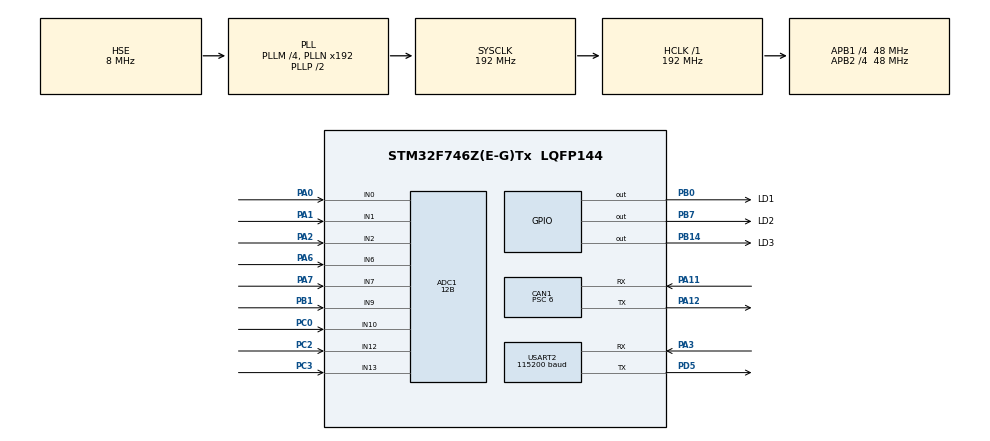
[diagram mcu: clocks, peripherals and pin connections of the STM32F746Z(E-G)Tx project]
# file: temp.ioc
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ADC1.Channel-0\#ChannelRegularConversion=ADC_CHANNEL_0
ADC1.ClockPrescaler=ADC_CLOCK_SYNC_PCLK_DIV2
ADC1.ContinuousConvMode=DISABLE
ADC1.DMAContinuousRequests=DISABLE
ADC1.DataAlign=ADC_DATAALIGN_RIGHT
ADC1.DiscontinuousConvMode=DISABLE
ADC1.EOCSelection=ADC_EOC_SINGLE_CONV
ADC1.EnableAnalogWatchDog=false
ADC1.ExternalTrigConvEdge=ADC_EXTERNALTRIGCONVEDGE_NONE
ADC1.InjNumberOfConversion=0
ADC1.NbrOfConversion=1
ADC1.NbrOfConversionFlag=1
ADC1.Rank-0\#ChannelRegularConversion=1
ADC1.Resolution=ADC_RESOLUTION_12B
ADC1.SamplingTime-0\#ChannelRegularConversion=ADC_SAMPLETIME_3CYCLES
ADC1.ScanConvMode=DISABLE
ADC1.master=1
CAN1.BS1=CAN_BS1_5TQ
CAN1.BS2=CAN_BS2_2TQ
CAN1.CalculateTimeBit=1000
CAN1.CalculateTimeQuantum=125.0
CAN1.Mode=CAN_MODE_NORMAL
CAN1.Prescaler=6
CAN1.SJW=CAN_SJW_1TQ
Mcu.Family=STM32F7
Mcu.Name=STM32F746Z(E-G)Tx
Mcu.Package=LQFP144
NVIC.PriorityGroup=NVIC_PRIORITYGROUP_2
NVIC.TIM2_IRQn=true\:0\:1\:true\:false\:true
NVIC.TIM3_IRQn=true\:3\:3\:true\:false\:true
PA0/WKUP.Signal=ADCx_IN0
PA1.Signal=ADCx_IN1
PA11.Mode=Master
PA11.Signal=CAN1_RX
PA12.Mode=Master
PA12.Signal=CAN1_TX
PA2.Signal=ADCx_IN2
PA3.Mode=Asynchronous
PA3.Signal=USART2_RX
PA6.Signal=ADCx_IN6
PA7.Signal=ADCx_IN7
PB0.GPIO_Label=LD1
PB0.Signal=GPIO_Output
PB1.Signal=ADCx_IN9
PB14.GPIO_Label=LD3
PB14.Signal=GPIO_Output
PB7.GPIO_Label=LD2
PB7.Signal=GPIO_Output
PC0.Signal=ADCx_IN10
PC2.Signal=ADCx_IN12
PC3.Signal=ADCx_IN13
PD5.Mode=Asynchronous
PD5.Signal=USART2_TX
PH0/OSC_IN.Mode=HSE-External-Oscillator
PH0/OSC_IN.Signal=RCC_OSC_IN
PH1/OSC_OUT.Mode=HSE-External-Oscillator
PH1/OSC_OUT.Signal=RCC_OSC_OUT
ProjectManager.HeapSize=0x200
ProjectManager.StackSize=0x400
ProjectManager.TargetToolchain=MDK-ARM V5
RCC.AHBFreq_Value=192000000
RCC.APB1CLKDivider=RCC_HCLK_DIV4
RCC.APB1Freq_Value=48000000
RCC.APB1TimFreq_Value=96000000
RCC.APB2CLKDivider=RCC_HCLK_DIV4
RCC.APB2Freq_Value=48000000
RCC.APB2TimFreq_Value=96000000
RCC.CortexFreq_Value=192000000
RCC.HCLKFreq_Value=192000000
RCC.HSE_VALUE=8000000
RCC.HSI_VALUE=16000000
RCC.LSE_VALUE=32768
RCC.PLLM=4
RCC.PLLSourceVirtual=RCC_PLLSOURCE_HSE
RCC.SYSCLKFreq_VALUE=192000000
RCC.SYSCLKSource=RCC_SYSCLKSOURCE_PLLCLK
RCC.USBFreq_Value=192000000
RCC.VCOOutputFreq_Value=384000000
SH.ADCx_IN0.0=ADC1_IN0,IN0
SH.ADCx_IN1.0=ADC1_IN1,IN1
SH.ADCx_IN10.0=ADC1_IN10,IN10
SH.ADCx_IN12.0=ADC1_IN12,IN12
SH.ADCx_IN13.0=ADC1_IN13,IN13
SH.ADCx_IN2.0=ADC1_IN2,IN2
SH.ADCx_IN6.0=ADC1_IN6,IN6
SH.ADCx_IN7.0=ADC1_IN7,IN7
SH.ADCx_IN9.0=ADC1_IN9,IN9
TIM2.Period=95
TIM2.Prescaler=999
TIM3.Period=950
TIM3.Prescaler=999
USART2.BaudRate=115200
USART2.Mode=UART_MODE_TX
USART2.WordLength=UART_WORDLENGTH_8B
VP_TIM2_VS_ClockSourceINT.Mode=Internal
VP_TIM3_VS_ClockSourceINT.Mode=Internal
board=temp

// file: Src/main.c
/**
  ******************************************************************************
  * File Name          : main.c
  * Description        : Main program body
  ******************************************************************************
  *
  * COPYRIGHT(c) 2016 STMicroelectronics
  *
  * Redistribution and use in source and binary forms, with or without modification,
  * are permitted provided that the following conditions are met:
  *   1. Redistributions of source code must retain the above copyright notice,
  *      this list of conditions and the following disclaimer.
  *   2. Redistributions in binary form must reproduce the above copyright notice,
  *      this list of conditions and the following disclaimer in the documentation
  *      and/or other materials provided with the distribution.
  *   3. Neither the name of STMicroelectronics nor the names of its contributors
  *      may be used to endorse or promote products derived from this software
  *      without specific prior written permission.
  *
  * THIS SOFTWARE IS PROVIDED BY THE COPYRIGHT HOLDERS AND CONTRIBUTORS "AS IS"
  * AND ANY EXPRESS OR IMPLIED WARRANTIES, INCLUDING, BUT NOT LIMITED TO, THE
  * IMPLIED WARRANTIES OF MERCHANTABILITY AND FITNESS FOR A PARTICULAR PURPOSE ARE
  * DISCLAIMED. IN NO EVENT SHALL THE COPYRIGHT HOLDER OR CONTRIBUTORS BE LIABLE
  * FOR ANY DIRECT, INDIRECT, INCIDENTAL, SPECIAL, EXEMPLARY, OR CONSEQUENTIAL
  * DAMAGES (INCLUDING, BUT NOT LIMITED TO, PROCUREMENT OF SUBSTITUTE GOODS OR
  * SERVICES; LOSS OF USE, DATA, OR PROFITS; OR BUSINESS INTERRUPTION) HOWEVER
  * CAUSED AND ON ANY THEORY OF LIABILITY, WHETHER IN CONTRACT, STRICT LIABILITY,
  * OR TORT (INCLUDING NEGLIGENCE OR OTHERWISE) ARISING IN ANY WAY OUT OF THE USE
  * OF THIS SOFTWARE, EVEN IF ADVISED OF THE POSSIBILITY OF SUCH DAMAGE.
  *
  ******************************************************************************
  */
#include "stm32f7xx_hal.h"

/* USER CODE BEGIN Includes */
#include "stdio.h"
#include <arm_math.h>
#include "string.h"
#include "stm32f7xx_it.h"
#include "main.h"
#include "CPG.h"
/* USER CODE END Includes */

ADC_HandleTypeDef hadc1;

CAN_HandleTypeDef hcan1;

TIM_HandleTypeDef htim2;
TIM_HandleTypeDef htim3;

UART_HandleTypeDef huart2;

/* USER CODE BEGIN PV */
/* Private variables ---------------------------------------------------------*/

/* USER CODE END PV */

void SystemClock_Config(void);
static void MX_GPIO_Init(void);
static void MX_USART2_UART_Init(void);
static void MX_TIM2_Init(void);
static void MX_CAN1_Init(void);
static void MX_TIM3_Init(void);
static void SystemClock_Config(void);
static void MX_ADC1_Init(void);

/* USER CODE BEGIN PFP */
/* Private function prototypes -----------------------------------------------*/

/* USER CODE END PFP */

/* USER CODE BEGIN 0 */

//void cr4_fft_256_stm32(void *pssOUT, void *pssIN, uint16_t Nbin);
 void CAN1_Filter_Init(void);
 void Servo_Init(void);
 int func(char s[],int x);
CPG C;
double c=1,a=1.00000001;
float cc=1,aa=1.00000001;

float x[8][7]={ { 0, 0, 0, 0, 0, 0, 0},
                { 0, 0, 0, 0, 0, 0, 0},
                { 0, 0, 0, 0, 0, 0, 0},
                { 0, 0, 0, 0, 0, 0, 0},
                { 0, 0, 0, 0, 0, 0, 0},
                { 0, 0, 0, 0, 0, 0, 0},
                { 0, 0, 0, 0, 0, 0, 0},
                { 0, 0, 0, 0, 0, 0, 0}};
float xVel[8][7]={ { 0, 0, 0, 0, 0, 0, 0},
                { 0, 0, 0, 0, 0, 0, 0},
                { 0, 0, 0, 0, 0, 0, 0},
                { 0, 0, 0, 0, 0, 0, 0},
                { 0, 0, 0, 0, 0, 0, 0},
                { 0, 0, 0, 0, 0, 0, 0},
                { 0, 0, 0, 0, 0, 0, 0},
                { 0, 0, 0, 0, 0, 0, 0}};
float xAcc[8][7]={ { 0, 0, 0, 0, 0, 0, 0},
                { 0, 0, 0, 0, 0, 0, 0},
                { 0, 0, 0, 0, 0, 0, 0},
                { 0, 0, 0, 0, 0, 0, 0},
                { 0, 0, 0, 0, 0, 0, 0},
                { 0, 0, 0, 0, 0, 0, 0},
                { 0, 0, 0, 0, 0, 0, 0},
                { 0, 0, 0, 0, 0, 0, 0}};
float paraVector[19];
float sensorHipPositiont1=-PI/2,sensorHipPositiont2=-PI/2,sensorHipVelocity=0;
float sensorKneePositiont1=0,sensorKneePositiont2=0,sensorKneeVelocity=0;
float aHipFinal[3]={7.512,12.9354,4.7784};
float aHip[3]={0,0,0};
float phiHip[3]={0,-0.2828,-0.6368};
float aKneeFinal[3]={22.6855,23.6933,18.5434};
float aKnee[3]={0,0,0};
float phiKnee[3]={0,1.0244,0.4137};
float controlTime=0;
float kneePOS,kneeVEL,kneeACC,hipPOS,hipVEL,hipACC;
float timeStep=0.005;
float piHalf=1.5708;

uint32_t timeB,timeA,timeInterval;
uint32_t  transmitmailbox;
uint32_t Timeout;
CanTxMsgTypeDef            pTxMsg;
CanTxMsgTypeDef            pTxMsg1;
CanRxMsgTypeDef            pRxMsg;
CanRxMsgTypeDef            pRxMsg1;
CanTxMsgTypeDef            pTxMsgSensor;
CanTxMsgTypeDef            pTxMsgSensor1;
CanRxMsgTypeDef            pRxMsgSensor;
CanRxMsgTypeDef            pRxMsgHipSensor;
CanRxMsgTypeDef            pRxMsgKneeSensor;
CanTxMsgTypeDef            pTxMsgTorque;
CanRxMsgTypeDef            pRxMsgTorque;
HAL_StatusTypeDef          stateCAN;

uint8_t positionLow[1];
uint8_t positionLow1[1];
uint8_t positionLow2[1];
uint8_t positionHigh[1];

int sensorCounter,tempCounter,usartSend;

int sensorZero;
uint8_t aRxBuffer[1];
float Gamma[11]={1,1,1,1,1,1,1,1,1,1,1};

uint32_t uhADCxConvertedValue[8];
ADC_ChannelConfTypeDef sConfig;
float filter_a[3]={1,-1.9733,0.9737};
float filter_b[3]={8.7656e-5,1.7531e-4,8.7656e-5};
float filterdADCvalue[8][4];
float rawADCvalue[8][3];

int flagADC=0;

/* RLS */
float HL[5];
float K_NN[5];
float T_N0[5]={0,0,0,0,0};
float T_NN[5];
float P_NN0[5];
float P_NN1[5];
float P_NN2[5];
float P_NN3[5];
float P_NN4[5];
float P_N00[5]={0,0,0,0,0};
float P_N01[5]={0,0,0,0,0};
float P_N02[5]={0,0,0,0,0};
float P_N03[5]={0,0,0,0,0};
float P_N04[5]={0,0,0,0,0};

int rlsConst=1000000;

/* END */

int fputc(int ch, FILE *f)
{
	uint8_t temp[1]={ch};
	HAL_UART_Transmit(&huart2, temp, 1, 2);
	return (ch);
}

void instructionParse(uint8_t aRxBuffer)
{
	if(aRxBuffer==5)
	{
	pTxMsg.StdId=0x201;
  pTxMsg.IDE =CAN_ID_STD;
	pTxMsg.RTR =CAN_RTR_DATA;
	pTxMsg.DLC =2;
	pTxMsg.Data[0]=0x05;
	pTxMsg.Data[1]=0x00;
	hcan1.pTxMsg=&pTxMsg;
	HAL_CAN_Transmit(&hcan1,10);

//	HAL_UART_Transmit(&huart2, ackComm, 1, 10);
	pTxMsg.StdId=0x202;
  pTxMsg.IDE =CAN_ID_STD;
	pTxMsg.RTR =CAN_RTR_DATA;
	pTxMsg.DLC =2;
	pTxMsg.Data[0]=0x05;
	pTxMsg.Data[1]=0x00;
	hcan1.pTxMsg=&pTxMsg;
	HAL_CAN_Transmit(&hcan1,10);

	}
}
void HAL_UART_RxCpltCallback(UART_HandleTypeDef *huart)
{
	uint8_t i=0;
 // positionHigh[0]=1;
	//HAL_UART_Transmit(&huart2, positionHigh, 1, 10);
	if(huart->Instance==USART2)
	{
		// positionHigh[0]=2;
	 //  HAL_UART_Transmit(&huart2, positionHigh, 1, 10);
		instructionParse(aRxBuffer[0]);
	}
	HAL_UART_Receive_IT(&huart2,aRxBuffer,1);
	__HAL_UART_ENABLE_IT(huart, UART_IT_RXNE);
	__HAL_UART_DISABLE_IT(&huart2,UART_IT_RXNE);

}

/* USER CODE END 0 */

int main(void)
{

  /* USER CODE BEGIN 1 */
  //uint8_t i=0;

  /* USER CODE END 1 */

  /* MCU Configuration----------------------------------------------------------*/

  /* Reset of all peripherals, Initializes the Flash interface and the Systick. */
  HAL_Init();

  /* Configure the system clock */
  SystemClock_Config();

  /* Initialize all configured peripherals */
  MX_GPIO_Init();
  MX_USART2_UART_Init();
  MX_TIM2_Init();
  MX_CAN1_Init();
  MX_TIM3_Init();
  SystemClock_Config();
  MX_ADC1_Init();

  /* USER CODE BEGIN 2 */

	CPG_Init(&C);
	Servo_Init();
	HAL_GPIO_WritePin(LD3_GPIO_Port, LD1_Pin, GPIO_PIN_SET);
  HAL_GPIO_WritePin(LD3_GPIO_Port, LD2_Pin, GPIO_PIN_SET);
  //printf("\n\r UART Printf Example: retarget the C library printf function to the UART\n\r");
  //printf("** Test finished successfully. ** \n\r");

//	timeB=HAL_GetTick();
//
//	for(unsigned int i=0;i<60000;i++ )
//	    cc=cc*aa;

//	timeA=HAL_GetTick();
//	timeInterval=timeA-timeB;

  for(int i=0;i<11;i++)
	{
     Gamma[i]=1/0.1;
		 paraVector[i]=0;
	}
//	 Gamma[4]=0.2;
//	 Gamma[5]=0.2;
//	 Gamma[6]=0.2;
	 Gamma[7]=1;
	 Gamma[8]=1;
	 Gamma[9]=1;
	 Gamma[10]=1;

sensorHipPositiont1=-PI/2,sensorHipPositiont2=-PI/2,sensorHipVelocity=0;
sensorKneePositiont1=0,sensorKneePositiont2=0,sensorKneeVelocity=0;
controlTime=0;
	  for(int i=0;i<3;i++)
	{
     aHip[i]=0;
     aKnee[i]=0;
	}

/* RLS Initialization */
	P_N00[0]=rlsConst*rlsConst;
	P_N01[1]=rlsConst*rlsConst;
	P_N02[2]=rlsConst*rlsConst;
	P_N03[3]=rlsConst*rlsConst;
	P_N04[4]=rlsConst*rlsConst;

/* END */

  CAN1_Filter_Init();
  HAL_TIM_Base_Start_IT(&htim2);
	HAL_TIM_Base_Start_IT(&htim3);

	if(HAL_UART_Receive_IT(&huart2,aRxBuffer,1)==HAL_OK)
{
	positionLow[0]=0;

}

  /* USER CODE END 2 */

  /* Infinite loop */
  while (1)
  {

  /* USER CODE BEGIN 3 */
		timeB=HAL_GetTick();

	pTxMsgSensor.StdId=0x381;
  pTxMsgSensor.IDE =CAN_ID_STD;
	pTxMsgSensor.RTR =CAN_RTR_REMOTE;
	pTxMsgSensor.DLC =0;
	hcan1.pTxMsg=&pTxMsgSensor;
	while(hcan1.State==HAL_CAN_STATE_BUSY_TX)
		    ;
	HAL_CAN_Transmit(&hcan1,10);
  while(hcan1.State==HAL_CAN_STATE_BUSY_RX)
		    ;
	HAL_CAN_Receive(&hcan1,CAN_FIFO0,10);
	pRxMsgSensor=*(hcan1.pRxMsg);

	if(pRxMsgSensor.StdId ==0x381)
	{
	   pRxMsgKneeSensor=*(hcan1.pRxMsg);
	}
	positionLow[0]=pRxMsgKneeSensor.Data[0];
	positionLow1[0]=pRxMsgKneeSensor.Data[1];
	positionLow2[0]=pRxMsgKneeSensor.Data[2];
	positionHigh[0]=pRxMsgKneeSensor.Data[3];
	sensorCounter=positionLow[0]+positionLow1[0]*16*16+positionLow2[0]*16*16*16*16+positionHigh[0]*16*16*16*16*16*16;
	sensorKneePositiont2=-sensorCounter*2*PI/4096/100;
	if(sensorKneePositiont2>0.7||sensorKneePositiont2<-0.7)
	{
	pTxMsg.StdId=0x201;
  pTxMsg.IDE =CAN_ID_STD;
	pTxMsg.RTR =CAN_RTR_DATA;
	pTxMsg.DLC =2;
	pTxMsg.Data[0]=0x05;
	pTxMsg.Data[1]=0x00;
	hcan1.pTxMsg=&pTxMsg;
	HAL_CAN_Transmit(&hcan1,10);
	}

	sensorKneeVelocity=(sensorKneePositiont2-sensorKneePositiont1)/timeStep;
	HAL_Delay(2);

	sensorKneePositiont1=sensorKneePositiont2;
	timeA=HAL_GetTick();
	timeInterval=timeA-timeB;
	timeStep=(float)timeInterval/1000;

  }
  /* USER CODE END 3 */

}

/** System Clock Configuration
*/
void SystemClock_Config(void)
{

  RCC_OscInitTypeDef RCC_OscInitStruct;
  RCC_ClkInitTypeDef RCC_ClkInitStruct;
  RCC_PeriphCLKInitTypeDef PeriphClkInitStruct;

  __HAL_RCC_PWR_CLK_ENABLE();

  __HAL_PWR_VOLTAGESCALING_CONFIG(PWR_REGULATOR_VOLTAGE_SCALE1);

  RCC_OscInitStruct.OscillatorType = RCC_OSCILLATORTYPE_HSE;
  RCC_OscInitStruct.HSEState = RCC_HSE_ON;
  RCC_OscInitStruct.PLL.PLLState = RCC_PLL_ON;
  RCC_OscInitStruct.PLL.PLLSource = RCC_PLLSOURCE_HSE;
  RCC_OscInitStruct.PLL.PLLM = 4;
  RCC_OscInitStruct.PLL.PLLN = 192;
  RCC_OscInitStruct.PLL.PLLP = RCC_PLLP_DIV2;
  RCC_OscInitStruct.PLL.PLLQ = 2;
  HAL_RCC_OscConfig(&RCC_OscInitStruct);

  HAL_PWREx_EnableOverDrive();

  RCC_ClkInitStruct.ClockType = RCC_CLOCKTYPE_HCLK|RCC_CLOCKTYPE_SYSCLK
                              |RCC_CLOCKTYPE_PCLK1|RCC_CLOCKTYPE_PCLK2;
  RCC_ClkInitStruct.SYSCLKSource = RCC_SYSCLKSOURCE_PLLCLK;
  RCC_ClkInitStruct.AHBCLKDivider = RCC_SYSCLK_DIV1;
  RCC_ClkInitStruct.APB1CLKDivider = RCC_HCLK_DIV4;
  RCC_ClkInitStruct.APB2CLKDivider = RCC_HCLK_DIV4;
  HAL_RCC_ClockConfig(&RCC_ClkInitStruct, FLASH_LATENCY_6);

  PeriphClkInitStruct.PeriphClockSelection = RCC_PERIPHCLK_USART2;
  PeriphClkInitStruct.Usart2ClockSelection = RCC_USART2CLKSOURCE_PCLK1;
  HAL_RCCEx_PeriphCLKConfig(&PeriphClkInitStruct);

  HAL_SYSTICK_Config(HAL_RCC_GetHCLKFreq()/1000);

  HAL_SYSTICK_CLKSourceConfig(SYSTICK_CLKSOURCE_HCLK);

  /* SysTick_IRQn interrupt configuration */
  HAL_NVIC_SetPriority(SysTick_IRQn, 0, 0);
}

/* ADC1 init function */
void MX_ADC1_Init(void)
{

  ADC_ChannelConfTypeDef sConfig;

    /**Configure the global features of the ADC (Clock, Resolution, Data Alignment and number of conversion)
    */
  hadc1.Instance = ADC1;
  hadc1.Init.ClockPrescaler = ADC_CLOCK_SYNC_PCLK_DIV2;
  hadc1.Init.Resolution = ADC_RESOLUTION_12B;
  hadc1.Init.ScanConvMode = DISABLE;
  hadc1.Init.ContinuousConvMode = DISABLE;
  hadc1.Init.DiscontinuousConvMode = DISABLE;
  hadc1.Init.ExternalTrigConvEdge = ADC_EXTERNALTRIGCONVEDGE_NONE;
  hadc1.Init.DataAlign = ADC_DATAALIGN_RIGHT;
  hadc1.Init.NbrOfConversion = 1;
  hadc1.Init.DMAContinuousRequests = DISABLE;
  hadc1.Init.EOCSelection = ADC_EOC_SINGLE_CONV;
  HAL_ADC_Init(&hadc1);

    /**Configure for the selected ADC regular channel its corresponding rank in the sequencer and its sample time.
    */
  sConfig.Channel = ADC_CHANNEL_0;
  sConfig.Rank = 1;
  sConfig.SamplingTime = ADC_SAMPLETIME_3CYCLES;
  HAL_ADC_ConfigChannel(&hadc1, &sConfig);

}

/* CAN1 init function */
void MX_CAN1_Init(void)
{

  hcan1.Instance = CAN1;
  hcan1.Init.Prescaler = 6;
  hcan1.Init.Mode = CAN_MODE_NORMAL;
  hcan1.Init.SJW = CAN_SJW_1TQ;
  hcan1.Init.BS1 = CAN_BS1_5TQ;
  hcan1.Init.BS2 = CAN_BS2_2TQ;
  hcan1.Init.TTCM = DISABLE;
  hcan1.Init.ABOM = DISABLE;
  hcan1.Init.AWUM = DISABLE;
  hcan1.Init.NART = DISABLE;
  hcan1.Init.RFLM = DISABLE;
  hcan1.Init.TXFP = DISABLE;
  HAL_CAN_Init(&hcan1);

}

/* TIM2 init function */
void MX_TIM2_Init(void)
{

  TIM_ClockConfigTypeDef sClockSourceConfig;
  TIM_MasterConfigTypeDef sMasterConfig;

  htim2.Instance = TIM2;
  htim2.Init.Prescaler = 999;
  htim2.Init.CounterMode = TIM_COUNTERMODE_UP;
  htim2.Init.Period = 95;
  htim2.Init.ClockDivision = TIM_CLOCKDIVISION_DIV1;
  HAL_TIM_Base_Init(&htim2);

  sClockSourceConfig.ClockSource = TIM_CLOCKSOURCE_INTERNAL;
  HAL_TIM_ConfigClockSource(&htim2, &sClockSourceConfig);

  sMasterConfig.MasterOutputTrigger = TIM_TRGO_RESET;
  sMasterConfig.MasterSlaveMode = TIM_MASTERSLAVEMODE_DISABLE;
  HAL_TIMEx_MasterConfigSynchronization(&htim2, &sMasterConfig);

}

/* TIM3 init function */
void MX_TIM3_Init(void)
{

  TIM_ClockConfigTypeDef sClockSourceConfig;
  TIM_MasterConfigTypeDef sMasterConfig;

  htim3.Instance = TIM3;
  htim3.Init.Prescaler = 999;
  htim3.Init.CounterMode = TIM_COUNTERMODE_UP;
  htim3.Init.Period = 950;
  htim3.Init.ClockDivision = TIM_CLOCKDIVISION_DIV1;
  HAL_TIM_Base_Init(&htim3);

  sClockSourceConfig.ClockSource = TIM_CLOCKSOURCE_INTERNAL;
  HAL_TIM_ConfigClockSource(&htim3, &sClockSourceConfig);

  sMasterConfig.MasterOutputTrigger = TIM_TRGO_RESET;
  sMasterConfig.MasterSlaveMode = TIM_MASTERSLAVEMODE_DISABLE;
  HAL_TIMEx_MasterConfigSynchronization(&htim3, &sMasterConfig);

}

/* USART2 init function */
void MX_USART2_UART_Init(void)
{

  huart2.Instance = USART2;
  huart2.Init.BaudRate = 115200;
  huart2.Init.WordLength = UART_WORDLENGTH_8B;
  huart2.Init.StopBits = UART_STOPBITS_1;
  huart2.Init.Parity = UART_PARITY_NONE;
  huart2.Init.Mode = UART_MODE_TX;
  huart2.Init.HwFlowCtl = UART_HWCONTROL_NONE;
  huart2.Init.OverSampling = UART_OVERSAMPLING_16;
  huart2.Init.OneBitSampling = UART_ONE_BIT_SAMPLE_DISABLE;
  huart2.AdvancedInit.AdvFeatureInit = UART_ADVFEATURE_NO_INIT;
  HAL_UART_Init(&huart2);

}

/** Configure pins as
        * Analog
        * Input
        * Output
        * EVENT_OUT
        * EXTI
*/
void MX_GPIO_Init(void)
{

  GPIO_InitTypeDef GPIO_InitStruct;

  /* GPIO Ports Clock Enable */
  __HAL_RCC_GPIOH_CLK_ENABLE();
  __HAL_RCC_GPIOC_CLK_ENABLE();
  __HAL_RCC_GPIOA_CLK_ENABLE();
  __HAL_RCC_GPIOB_CLK_ENABLE();
  __HAL_RCC_GPIOD_CLK_ENABLE();

  /*Configure GPIO pin Output Level */
  HAL_GPIO_WritePin(GPIOB, LD1_Pin|LD3_Pin|LD2_Pin, GPIO_PIN_RESET);

  /*Configure GPIO pins : LD1_Pin LD3_Pin LD2_Pin */
  GPIO_InitStruct.Pin = LD1_Pin|LD3_Pin|LD2_Pin;
  GPIO_InitStruct.Mode = GPIO_MODE_OUTPUT_PP;
  GPIO_InitStruct.Pull = GPIO_NOPULL;
  GPIO_InitStruct.Speed = GPIO_SPEED_FREQ_LOW;
  HAL_GPIO_Init(GPIOB, &GPIO_InitStruct);

}

/* USER CODE BEGIN 4 */

void CAN1_Filter_Init(void)
{
	//32-Bit Filter;
	//     0000 0000 (000)0 0000 0000 0000 0000 0000,括号内是STID的低三位
	//Mask 0000 0000 (111)0 0000 0000 0000 0000 0000
	CAN_FilterConfTypeDef sFilterConfig;
	sFilterConfig.FilterNumber=0;
	sFilterConfig.FilterMode=CAN_FILTERMODE_IDMASK;
	sFilterConfig.FilterScale=CAN_FILTERSCALE_32BIT;
  sFilterConfig.FilterIdHigh=0x0000;
  sFilterConfig.FilterIdLow=0x0000;
  sFilterConfig.FilterMaskIdHigh=0x0000;
  sFilterConfig.FilterMaskIdLow=0x0000;
  sFilterConfig.FilterFIFOAssignment=CAN_FIFO0;
	sFilterConfig.FilterActivation=ENABLE;
  HAL_CAN_ConfigFilter(&hcan1, &sFilterConfig);

}

void Servo_Init(void)
{
		//????
	pTxMsg.StdId=0x00;
  pTxMsg.IDE =CAN_ID_STD;
	pTxMsg.RTR =CAN_RTR_DATA;
	pTxMsg.DLC =8;
	pTxMsg.Data[0]=0x01;
	pTxMsg.Data[1]=0x00;
	Timeout=10;
	hcan1.pTxMsg=&pTxMsg;
	HAL_CAN_Transmit(&hcan1,10);

	//取消181的功能
	pTxMsg.StdId=0x601;
  pTxMsg.IDE =CAN_ID_STD;
	pTxMsg.RTR =CAN_RTR_DATA;
	pTxMsg.DLC =8;
	pTxMsg.Data[0]=0x23;
	pTxMsg.Data[1]=0x00;
	pTxMsg.Data[2]=0x18;
	pTxMsg.Data[3]=0x01;
	pTxMsg.Data[4]=0x81;
	pTxMsg.Data[5]=0x01;
	pTxMsg.Data[6]=0x00;
	pTxMsg.Data[7]=0x80;
	hcan1.pTxMsg=&pTxMsg;
	HAL_CAN_Transmit(&hcan1,10);
	HAL_CAN_Receive(&hcan1,CAN_FIFO0,10);

	//取消281的功能
	pTxMsg.StdId=0x601;
  pTxMsg.IDE =CAN_ID_STD;
	pTxMsg.RTR =CAN_RTR_DATA;
	pTxMsg.DLC =8;
	pTxMsg.Data[0]=0x23;
	pTxMsg.Data[1]=0x01;
	pTxMsg.Data[2]=0x18;
	pTxMsg.Data[3]=0x01;
	pTxMsg.Data[4]=0x81;
	pTxMsg.Data[5]=0x02;
	pTxMsg.Data[6]=0x00;
	pTxMsg.Data[7]=0x80;
	hcan1.pTxMsg=&pTxMsg;
	HAL_CAN_Transmit(&hcan1,10);
	HAL_CAN_Receive(&hcan1,CAN_FIFO0,10);

	//取消182的功能
	pTxMsg.StdId=0x602;
  pTxMsg.IDE =CAN_ID_STD;
	pTxMsg.RTR =CAN_RTR_DATA;
	pTxMsg.DLC =8;
	pTxMsg.Data[0]=0x23;
	pTxMsg.Data[1]=0x00;
	pTxMsg.Data[2]=0x18;
	pTxMsg.Data[3]=0x01;
	pTxMsg.Data[4]=0x82;
	pTxMsg.Data[5]=0x01;
	pTxMsg.Data[6]=0x00;
	pTxMsg.Data[7]=0x80;
	hcan1.pTxMsg=&pTxMsg;
	HAL_CAN_Transmit(&hcan1,10);
	HAL_CAN_Receive(&hcan1,CAN_FIFO0,10);

	//取消282的功能
	pTxMsg.StdId=0x602;
  pTxMsg.IDE =CAN_ID_STD;
	pTxMsg.RTR =CAN_RTR_DATA;
	pTxMsg.DLC =8;
	pTxMsg.Data[0]=0x23;
	pTxMsg.Data[1]=0x01;
	pTxMsg.Data[2]=0x18;
	pTxMsg.Data[3]=0x01;
	pTxMsg.Data[4]=0x82;
	pTxMsg.Data[5]=0x02;
	pTxMsg.Data[6]=0x00;
	pTxMsg.Data[7]=0x80;
	hcan1.pTxMsg=&pTxMsg;
	HAL_CAN_Transmit(&hcan1,10);
	HAL_CAN_Receive(&hcan1,CAN_FIFO0,10);

	//下伺服
	pTxMsg.StdId=0x202;
  pTxMsg.IDE =CAN_ID_STD;
	pTxMsg.RTR =CAN_RTR_DATA;
	pTxMsg.DLC =2;
	pTxMsg.Data[0]=0x05;
	pTxMsg.Data[1]=0x00;
	hcan1.pTxMsg=&pTxMsg;
	HAL_CAN_Transmit(&hcan1,10);
	////?????

	pTxMsg.StdId=0x201;
  pTxMsg.IDE =CAN_ID_STD;
	pTxMsg.RTR =CAN_RTR_DATA;
	pTxMsg.DLC =2;
	pTxMsg.Data[0]=0x05;
	pTxMsg.Data[1]=0x00;
	hcan1.pTxMsg=&pTxMsg;
	HAL_CAN_Transmit(&hcan1,10);

  //读编码器PDO
	pTxMsg.StdId=0x601;
  pTxMsg.IDE =CAN_ID_STD;
	pTxMsg.RTR =CAN_RTR_DATA;
	pTxMsg.DLC =8;
	pTxMsg.Data[0]=0x23;
	pTxMsg.Data[1]=0x02;
	pTxMsg.Data[2]=0x18;
	pTxMsg.Data[3]=0x01;
	pTxMsg.Data[4]=0x81;
	pTxMsg.Data[5]=0x03;
	pTxMsg.Data[6]=0x00;
	pTxMsg.Data[7]=0x80;
	Timeout=10;
	hcan1.pTxMsg=&pTxMsg;
	HAL_CAN_Transmit(&hcan1,10);
	HAL_CAN_Receive(&hcan1,CAN_FIFO0,10);

	pTxMsg.StdId=0x601;
  pTxMsg.IDE =CAN_ID_STD;
	pTxMsg.RTR =CAN_RTR_DATA;
	pTxMsg.DLC =5;
	pTxMsg.Data[0]=0x2F;
	pTxMsg.Data[1]=0x02;
	pTxMsg.Data[2]=0x18;
	pTxMsg.Data[3]=0x02;
	pTxMsg.Data[4]=0xFF;
	Timeout=10;
	hcan1.pTxMsg=&pTxMsg;
	HAL_CAN_Transmit(&hcan1,10);
	HAL_CAN_Receive(&hcan1,CAN_FIFO0,10);

	pTxMsg.StdId=0x601;
  pTxMsg.IDE =CAN_ID_STD;
	pTxMsg.RTR =CAN_RTR_DATA;
	pTxMsg.DLC =5;
	pTxMsg.Data[0]=0x2F;
	pTxMsg.Data[1]=0x02;
	pTxMsg.Data[2]=0x1A;
	pTxMsg.Data[3]=0x00;
	pTxMsg.Data[4]=0x00;
	Timeout=10;
	hcan1.pTxMsg=&pTxMsg;
	HAL_CAN_Transmit(&hcan1,10);
	HAL_CAN_Receive(&hcan1,CAN_FIFO0,10);

	pTxMsg.StdId=0x601;
  pTxMsg.IDE =CAN_ID_STD;
	pTxMsg.RTR =CAN_RTR_DATA;
	pTxMsg.DLC =8;
	pTxMsg.Data[0]=0x23;
	pTxMsg.Data[1]=0x02;
	pTxMsg.Data[2]=0x1A;
	pTxMsg.Data[3]=0x01;
	pTxMsg.Data[4]=0x20;
	pTxMsg.Data[5]=0x00;
	pTxMsg.Data[6]=0x64;
	pTxMsg.Data[7]=0x60;
	Timeout=10;
	hcan1.pTxMsg=&pTxMsg;
	HAL_CAN_Transmit(&hcan1,10);
	HAL_CAN_Receive(&hcan1,CAN_FIFO0,10);

	pTxMsg.StdId=0x601;
  pTxMsg.IDE =CAN_ID_STD;
	pTxMsg.RTR =CAN_RTR_DATA;
	pTxMsg.DLC =5;
	pTxMsg.Data[0]=0x2F;
	pTxMsg.Data[1]=0x02;
	pTxMsg.Data[2]=0x1A;
	pTxMsg.Data[3]=0x00;
	pTxMsg.Data[4]=0x01;
	Timeout=10;
	hcan1.pTxMsg=&pTxMsg;
	HAL_CAN_Transmit(&hcan1,10);
	HAL_CAN_Receive(&hcan1,CAN_FIFO0,10);

	pTxMsg.StdId=0x601;
  pTxMsg.IDE =CAN_ID_STD;
	pTxMsg.RTR =CAN_RTR_DATA;
	pTxMsg.DLC =8;
	pTxMsg.Data[0]=0x23;
	pTxMsg.Data[1]=0x02;
	pTxMsg.Data[2]=0x18;
	pTxMsg.Data[3]=0x01;
	pTxMsg.Data[4]=0x81;
	pTxMsg.Data[5]=0x03;
	pTxMsg.Data[6]=0x00;
	pTxMsg.Data[7]=0x00;
	Timeout=10;
	hcan1.pTxMsg=&pTxMsg;
	HAL_CAN_Transmit(&hcan1,10);
	HAL_CAN_Receive(&hcan1,CAN_FIFO0,10);

  //力矩PDO
	pTxMsg.StdId=0x601;
  pTxMsg.IDE =CAN_ID_STD;
	pTxMsg.RTR =CAN_RTR_DATA;
	pTxMsg.DLC =8;
	pTxMsg.Data[0]=0x23;
	pTxMsg.Data[1]=0x01;
	pTxMsg.Data[2]=0x14;
	pTxMsg.Data[3]=0x01;
	pTxMsg.Data[4]=0x01;
	pTxMsg.Data[5]=0x03;
	pTxMsg.Data[6]=0x00;
	pTxMsg.Data[7]=0x80;
	Timeout=10;
	hcan1.pTxMsg=&pTxMsg;
	HAL_CAN_Transmit(&hcan1,10);
	HAL_CAN_Receive(&hcan1,CAN_FIFO0,10);

	pTxMsg.StdId=0x601;
  pTxMsg.IDE =CAN_ID_STD;
	pTxMsg.RTR =CAN_RTR_DATA;
	pTxMsg.DLC =5;
	pTxMsg.Data[0]=0x2F;
	pTxMsg.Data[1]=0x01;
	pTxMsg.Data[2]=0x14;
	pTxMsg.Data[3]=0x02;
	pTxMsg.Data[4]=0xFF;
	Timeout=10;
	hcan1.pTxMsg=&pTxMsg;
	HAL_CAN_Transmit(&hcan1,10);
	HAL_CAN_Receive(&hcan1,CAN_FIFO0,10);

	pTxMsg.StdId=0x601;
  pTxMsg.IDE =CAN_ID_STD;
	pTxMsg.RTR =CAN_RTR_DATA;
	pTxMsg.DLC =5;
	pTxMsg.Data[0]=0x2F;
	pTxMsg.Data[1]=0x01;
	pTxMsg.Data[2]=0x16;
	pTxMsg.Data[3]=0x00;
	pTxMsg.Data[4]=0x00;
	Timeout=10;
	hcan1.pTxMsg=&pTxMsg;
	HAL_CAN_Transmit(&hcan1,10);
	HAL_CAN_Receive(&hcan1,CAN_FIFO0,10);

	pTxMsg.StdId=0x601;
  pTxMsg.IDE =CAN_ID_STD;
	pTxMsg.RTR =CAN_RTR_DATA;
	pTxMsg.DLC =8;
	pTxMsg.Data[0]=0x23;
	pTxMsg.Data[1]=0x01;
	pTxMsg.Data[2]=0x16;
	pTxMsg.Data[3]=0x01;
	pTxMsg.Data[4]=0x10;
	pTxMsg.Data[5]=0x00;
	pTxMsg.Data[6]=0x71;
	pTxMsg.Data[7]=0x60;
	Timeout=10;
	hcan1.pTxMsg=&pTxMsg;
	HAL_CAN_Transmit(&hcan1,10);
	HAL_CAN_Receive(&hcan1,CAN_FIFO0,10);

	pTxMsg.StdId=0x601;
  pTxMsg.IDE =CAN_ID_STD;
	pTxMsg.RTR =CAN_RTR_DATA;
	pTxMsg.DLC =5;
	pTxMsg.Data[0]=0x2F;
	pTxMsg.Data[1]=0x01;
	pTxMsg.Data[2]=0x16;
	pTxMsg.Data[3]=0x00;
	pTxMsg.Data[4]=0x01;
	Timeout=10;
	hcan1.pTxMsg=&pTxMsg;
	HAL_CAN_Transmit(&hcan1,10);
	HAL_CAN_Receive(&hcan1,CAN_FIFO0,10);

	pTxMsg.StdId=0x601;
  pTxMsg.IDE =CAN_ID_STD;
	pTxMsg.RTR =CAN_RTR_DATA;
	pTxMsg.DLC =8;
	pTxMsg.Data[0]=0x23;
	pTxMsg.Data[1]=0x01;
	pTxMsg.Data[2]=0x14;
	pTxMsg.Data[3]=0x01;
	pTxMsg.Data[4]=0x01;
	pTxMsg.Data[5]=0x03;
	pTxMsg.Data[6]=0x00;
	pTxMsg.Data[7]=0x00;
	Timeout=10;
	hcan1.pTxMsg=&pTxMsg;
	HAL_CAN_Transmit(&hcan1,10);
	HAL_CAN_Receive(&hcan1,CAN_FIFO0,10);

  //设置电流模式
	pTxMsg.StdId=0x601;
  pTxMsg.IDE =CAN_ID_STD;
	pTxMsg.RTR =CAN_RTR_DATA;
	pTxMsg.DLC =5;
	pTxMsg.Data[0]=0x2F;
	pTxMsg.Data[1]=0x60;
	pTxMsg.Data[2]=0x60;
	pTxMsg.Data[3]=0x00;
	pTxMsg.Data[4]=0x04;
	Timeout=10;
	hcan1.pTxMsg=&pTxMsg;
	HAL_CAN_Transmit(&hcan1,10);
	//HAL_CAN_Receive(&hcan1,CAN_FIFO0,10);

  //编码器位置归零
  pTxMsg.StdId=0x601;
  pTxMsg.IDE =CAN_ID_STD;
	pTxMsg.RTR =CAN_RTR_DATA;
	pTxMsg.DLC =8;
	pTxMsg.Data[0]=0x23;
	pTxMsg.Data[1]=0x64;
	pTxMsg.Data[2]=0x60;
	pTxMsg.Data[3]=0x00;
	pTxMsg.Data[4]=0x00;
	pTxMsg.Data[5]=0x00;
	pTxMsg.Data[6]=0x00;
	pTxMsg.Data[7]=0x00;
	Timeout=10;
	hcan1.pTxMsg=&pTxMsg;
	HAL_CAN_Transmit(&hcan1,10);
	HAL_CAN_Receive(&hcan1,CAN_FIFO0,10);

//????????
	pTxMsg1.StdId=0x381;
  pTxMsg1.IDE =CAN_ID_STD;
	pTxMsg1.RTR =CAN_RTR_REMOTE;
	pTxMsg1.DLC =0;
	Timeout=10;
	hcan1.pTxMsg=&pTxMsg1;
	HAL_CAN_Transmit(&hcan1,10);
	HAL_CAN_Receive(&hcan1,CAN_FIFO0,10);
	pRxMsg1=*(hcan1.pRxMsg);

	pTxMsg.StdId=0x301;
  pTxMsg.IDE =CAN_ID_STD;
	pTxMsg.RTR =CAN_RTR_DATA;
	pTxMsg.DLC =2;
	pTxMsg.Data[0]=00;
	pTxMsg.Data[1]=00;
	hcan1.pTxMsg=&pTxMsg;
	HAL_CAN_Transmit(&hcan1,10);

  //设置读取编码器PDO
	pTxMsg.StdId=0x602;
  pTxMsg.IDE =CAN_ID_STD;
	pTxMsg.RTR =CAN_RTR_DATA;
	pTxMsg.DLC =8;
	pTxMsg.Data[0]=0x23;
	pTxMsg.Data[1]=0x02;
	pTxMsg.Data[2]=0x18;
	pTxMsg.Data[3]=0x01;
	pTxMsg.Data[4]=0x82;
	pTxMsg.Data[5]=0x03;
	pTxMsg.Data[6]=0x00;
	pTxMsg.Data[7]=0x80;
	Timeout=10;
	hcan1.pTxMsg=&pTxMsg;
	HAL_CAN_Transmit(&hcan1,10);
	HAL_CAN_Receive(&hcan1,CAN_FIFO0,10);

	pTxMsg.StdId=0x602;
  pTxMsg.IDE =CAN_ID_STD;
	pTxMsg.RTR =CAN_RTR_DATA;
	pTxMsg.DLC =5;
	pTxMsg.Data[0]=0x2F;
	pTxMsg.Data[1]=0x02;
	pTxMsg.Data[2]=0x18;
	pTxMsg.Data[3]=0x02;
	pTxMsg.Data[4]=0xFF;
	Timeout=10;
	hcan1.pTxMsg=&pTxMsg;
	HAL_CAN_Transmit(&hcan1,10);
	HAL_CAN_Receive(&hcan1,CAN_FIFO0,10);

	pTxMsg.StdId=0x602;
  pTxMsg.IDE =CAN_ID_STD;
	pTxMsg.RTR =CAN_RTR_DATA;
	pTxMsg.DLC =5;
	pTxMsg.Data[0]=0x2F;
	pTxMsg.Data[1]=0x02;
	pTxMsg.Data[2]=0x1A;
	pTxMsg.Data[3]=0x00;
	pTxMsg.Data[4]=0x00;
	Timeout=10;
	hcan1.pTxMsg=&pTxMsg;
	HAL_CAN_Transmit(&hcan1,10);
	HAL_CAN_Receive(&hcan1,CAN_FIFO0,10);

	pTxMsg.StdId=0x602;
  pTxMsg.IDE =CAN_ID_STD;
	pTxMsg.RTR =CAN_RTR_DATA;
	pTxMsg.DLC =8;
	pTxMsg.Data[0]=0x23;
	pTxMsg.Data[1]=0x02;
	pTxMsg.Data[2]=0x1A;
	pTxMsg.Data[3]=0x01;
	pTxMsg.Data[4]=0x20;
	pTxMsg.Data[5]=0x00;
	pTxMsg.Data[6]=0x64;
	pTxMsg.Data[7]=0x60;
	Timeout=10;
	hcan1.pTxMsg=&pTxMsg;
	HAL_CAN_Transmit(&hcan1,10);
	HAL_CAN_Receive(&hcan1,CAN_FIFO0,10);

	pTxMsg.StdId=0x602;
  pTxMsg.IDE =CAN_ID_STD;
	pTxMsg.RTR =CAN_RTR_DATA;
	pTxMsg.DLC =5;
	pTxMsg.Data[0]=0x2F;
	pTxMsg.Data[1]=0x02;
	pTxMsg.Data[2]=0x1A;
	pTxMsg.Data[3]=0x00;
	pTxMsg.Data[4]=0x01;
	Timeout=10;
	hcan1.pTxMsg=&pTxMsg;
	HAL_CAN_Transmit(&hcan1,10);
	HAL_CAN_Receive(&hcan1,CAN_FIFO0,10);

	pTxMsg.StdId=0x602;
  pTxMsg.IDE =CAN_ID_STD;
	pTxMsg.RTR =CAN_RTR_DATA;
	pTxMsg.DLC =8;
	pTxMsg.Data[0]=0x23;
	pTxMsg.Data[1]=0x02;
	pTxMsg.Data[2]=0x18;
	pTxMsg.Data[3]=0x01;
	pTxMsg.Data[4]=0x82;
	pTxMsg.Data[5]=0x03;
	pTxMsg.Data[6]=0x00;
	pTxMsg.Data[7]=0x00;
	Timeout=10;
	hcan1.pTxMsg=&pTxMsg;
	HAL_CAN_Transmit(&hcan1,10);
	HAL_CAN_Receive(&hcan1,CAN_FIFO0,10);

  //设置力矩PDO
	pTxMsg.StdId=0x602;
  pTxMsg.IDE =CAN_ID_STD;
	pTxMsg.RTR =CAN_RTR_DATA;
	pTxMsg.DLC =8;
	pTxMsg.Data[0]=0x23;
	pTxMsg.Data[1]=0x01;
	pTxMsg.Data[2]=0x14;
	pTxMsg.Data[3]=0x01;
	pTxMsg.Data[4]=0x02;
	pTxMsg.Data[5]=0x03;
	pTxMsg.Data[6]=0x00;
	pTxMsg.Data[7]=0x80;
	Timeout=10;
	hcan1.pTxMsg=&pTxMsg;
	HAL_CAN_Transmit(&hcan1,10);
	HAL_CAN_Receive(&hcan1,CAN_FIFO0,10);

	pTxMsg.StdId=0x602;
  pTxMsg.IDE =CAN_ID_STD;
	pTxMsg.RTR =CAN_RTR_DATA;
	pTxMsg.DLC =5;
	pTxMsg.Data[0]=0x2F;
	pTxMsg.Data[1]=0x01;
	pTxMsg.Data[2]=0x14;
	pTxMsg.Data[3]=0x02;
	pTxMsg.Data[4]=0xFF;
	Timeout=10;
	hcan1.pTxMsg=&pTxMsg;
	HAL_CAN_Transmit(&hcan1,10);
	HAL_CAN_Receive(&hcan1,CAN_FIFO0,10);

	pTxMsg.StdId=0x602;
  pTxMsg.IDE =CAN_ID_STD;
	pTxMsg.RTR =CAN_RTR_DATA;
	pTxMsg.DLC =5;
	pTxMsg.Data[0]=0x2F;
	pTxMsg.Data[1]=0x01;
	pTxMsg.Data[2]=0x16;
	pTxMsg.Data[3]=0x00;
	pTxMsg.Data[4]=0x00;
	Timeout=10;
	hcan1.pTxMsg=&pTxMsg;
	HAL_CAN_Transmit(&hcan1,10);
	HAL_CAN_Receive(&hcan1,CAN_FIFO0,10);

	pTxMsg.StdId=0x602;
  pTxMsg.IDE =CAN_ID_STD;
	pTxMsg.RTR =CAN_RTR_DATA;
	pTxMsg.DLC =8;
	pTxMsg.Data[0]=0x23;
	pTxMsg.Data[1]=0x01;
	pTxMsg.Data[2]=0x16;
	pTxMsg.Data[3]=0x01;
	pTxMsg.Data[4]=0x10;
	pTxMsg.Data[5]=0x00;
	pTxMsg.Data[6]=0x71;
	pTxMsg.Data[7]=0x60;
	Timeout=10;
	hcan1.pTxMsg=&pTxMsg;
	HAL_CAN_Transmit(&hcan1,10);
	HAL_CAN_Receive(&hcan1,CAN_FIFO0,10);

	pTxMsg.StdId=0x602;
  pTxMsg.IDE =CAN_ID_STD;
	pTxMsg.RTR =CAN_RTR_DATA;
	pTxMsg.DLC =5;
	pTxMsg.Data[0]=0x2F;
	pTxMsg.Data[1]=0x01;
	pTxMsg.Data[2]=0x16;
	pTxMsg.Data[3]=0x00;
	pTxMsg.Data[4]=0x01;
	Timeout=10;
	hcan1.pTxMsg=&pTxMsg;
	HAL_CAN_Transmit(&hcan1,10);
	HAL_CAN_Receive(&hcan1,CAN_FIFO0,10);

	pTxMsg.StdId=0x602;
  pTxMsg.IDE =CAN_ID_STD;
	pTxMsg.RTR =CAN_RTR_DATA;
	pTxMsg.DLC =8;
	pTxMsg.Data[0]=0x23;
	pTxMsg.Data[1]=0x01;
	pTxMsg.Data[2]=0x14;
	pTxMsg.Data[3]=0x01;
	pTxMsg.Data[4]=0x02;
	pTxMsg.Data[5]=0x03;
	pTxMsg.Data[6]=0x00;
	pTxMsg.Data[7]=0x00;
	Timeout=10;
	hcan1.pTxMsg=&pTxMsg;
	HAL_CAN_Transmit(&hcan1,10);
	HAL_CAN_Receive(&hcan1,CAN_FIFO0,10);

  //设置电流模式
	pTxMsg.StdId=0x602;
  pTxMsg.IDE =CAN_ID_STD;
	pTxMsg.RTR =CAN_RTR_DATA;
	pTxMsg.DLC =5;
	pTxMsg.Data[0]=0x2F;
	pTxMsg.Data[1]=0x60;
	pTxMsg.Data[2]=0x60;
	pTxMsg.Data[3]=0x00;
	pTxMsg.Data[4]=0x04;
	Timeout=10;
	hcan1.pTxMsg=&pTxMsg;
	HAL_CAN_Transmit(&hcan1,10);
	//HAL_CAN_Receive(&hcan1,CAN_FIFO0,10);

  //编码器位置归零
  pTxMsg.StdId=0x602;
  pTxMsg.IDE =CAN_ID_STD;
	pTxMsg.RTR =CAN_RTR_DATA;
	pTxMsg.DLC =8;
	pTxMsg.Data[0]=0x23;
	pTxMsg.Data[1]=0x64;
	pTxMsg.Data[2]=0x60;
	pTxMsg.Data[3]=0x00;
	pTxMsg.Data[4]=0x00;
	pTxMsg.Data[5]=0x00;
	pTxMsg.Data[6]=0x00;
	pTxMsg.Data[7]=0x00;
	Timeout=10;
	hcan1.pTxMsg=&pTxMsg;
	HAL_CAN_Transmit(&hcan1,10);
	HAL_CAN_Receive(&hcan1,CAN_FIFO0,10);

  //读取编码器
	pTxMsg1.StdId=0x382;
  pTxMsg1.IDE =CAN_ID_STD;
	pTxMsg1.RTR =CAN_RTR_REMOTE;
	pTxMsg1.DLC =0;
	Timeout=10;
	hcan1.pTxMsg=&pTxMsg1;
	HAL_CAN_Transmit(&hcan1,10);
	HAL_CAN_Receive(&hcan1,CAN_FIFO0,10);
	pRxMsg1=*(hcan1.pRxMsg);

	pTxMsg.StdId=0x302;
  pTxMsg.IDE =CAN_ID_STD;
	pTxMsg.RTR =CAN_RTR_DATA;
	pTxMsg.DLC =2;
	pTxMsg.Data[0]=00;
	pTxMsg.Data[1]=00;
	hcan1.pTxMsg=&pTxMsg;
	HAL_CAN_Transmit(&hcan1,10);

}
/* USER CODE END 4 */

/************************ (C) COPYRIGHT STMicroelectronics *****END OF FILE****/
